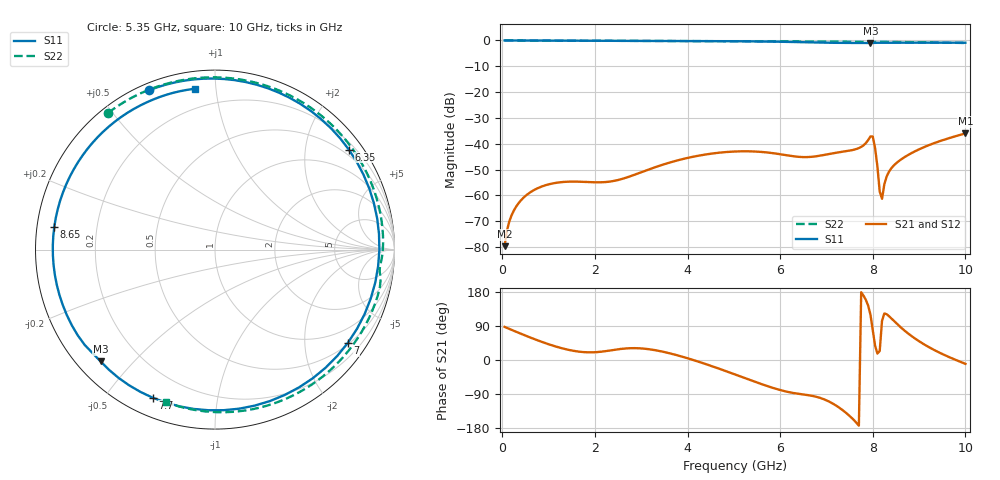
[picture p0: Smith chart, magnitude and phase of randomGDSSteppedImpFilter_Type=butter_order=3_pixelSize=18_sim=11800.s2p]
! freq	dB(S11)	phase(S11)	dB(S12)	phase(S12)
!  dB(S21)	phase(S21)	dB(S22)	phase(S22)
!S-par simulation data
#  GHz  S  DB  R 50
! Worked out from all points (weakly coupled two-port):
!   200 points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, 50 MHz to 10 GHz, reference 50 ohm
!   highest |S21| = -36.01 dB at 10 GHz (marker M1); lowest = -79.7 dB at 50 MHz (marker M2)
!   lowest |S11| = -1.0 dB at 7.95 GHz (marker M3), VSWR 17.41, Z = 3.35 - j20.3 ohm
!   |S11| at or under -10 dB: nowhere
!   |S22| runs from -1.0 to 0.0 dB; largest |S21 - S12| = 0
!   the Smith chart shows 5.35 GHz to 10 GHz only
!   S11 on the Smith chart (normalised r, x): 5.35 GHz: 0.03, +0.67; 6.35 GHz: 0.35, +2.97; 7 GHz: 0.54, -3.08; 7.7 GHz: 0.08, -0.66; 8.65 GHz: 0.05, +0.07; 10 GHz: 0.09, +0.88
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0.05  -0.00 -2.8  -79.65 87.4  -79.65 87.4  -0.00 -2.5
0.2  -0.02 -11.2  -67.72 79.5  -67.72 79.5  -0.01 -9.8
0.5  -0.04 -27.6  -60.21 64.4  -60.21 64.4  -0.03 -24.4
1.75  -0.10 -90.7  -54.75 20.9  -54.75 20.9  -0.10 -82.1
3.4  -0.17 -159.7  -48.48 23.6  -48.48 23.6  -0.17 -150.5
4.25  -0.22 166.0  -44.58 -5.0  -44.58 -5.0  -0.22 175.3
5.05  -0.30 129.0  -42.98 -39.2  -42.98 -39.2  -0.27 141.5
5.35  -0.35 112.5  -42.94 -52.7  -42.94 -52.7  -0.29 128.0
5.9  -0.47 75.8  -43.78 -75.7  -43.78 -75.7  -0.34 102.1
6.35  -0.62 36.8  -44.97 -88.3  -44.97 -88.3  -0.37 79.6
6.7  -0.76 -0.2  -45.02 -94.8  -45.02 -94.8  -0.40 61.4
7  -0.87 -35.0  -44.16 -106.4  -44.16 -106.4  -0.43 45.4
7.35  -0.94 -75.8  -43.09 -132.4  -43.09 -132.4  -0.47 26.4
7.7  -0.96 -112.7  -41.67 -173.2  -41.67 -173.2  -0.53 7.4
7.95  -1.00 -135.7  -37.18 119.6  -37.18 119.6  -0.69 -5.6
8.05  -0.92 -143.8  -41.67 37.7  -41.67 37.7  -0.56 -10.0
8.15  -0.89 -152.2  -58.53 23.8  -58.53 23.8  -0.52 -15.9
8.2  -0.89 -156.2  -61.31 103.7  -61.31 103.7  -0.52 -18.6
8.35  -0.89 -167.5  -50.81 115.7  -50.81 115.7  -0.56 -26.6
8.65  -0.87 172.0  -45.59 81.3  -45.59 81.3  -0.62 -42.1
9.35  -0.86 130.8  -39.60 24.9  -39.60 24.9  -0.79 -76.7
10  -0.88 97.3  -36.01 -10.1  -36.01 -10.1  -0.98 -107.8
